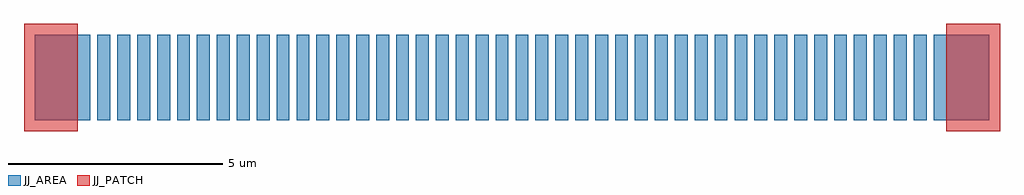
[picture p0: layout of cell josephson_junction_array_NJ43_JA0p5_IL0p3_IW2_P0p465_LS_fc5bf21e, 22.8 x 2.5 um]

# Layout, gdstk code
import gdstk
lib = gdstk.Library(unit=1e-6, precision=1e-09)
def R(c, l, rs):  # rectangles x0, y0, x1, y1
    for r in rs: c.add(gdstk.rectangle(r[:2], r[2:], *l))
def A(c, l, x, y, w, h, nx, ny, dx, dy):  # array of equal rectangles
    R(c, l, [(x+i*dx, y+j*dy, x+i*dx+w, y+j*dy+h) for i in range(nx) for j in range(ny)])
JJ_AREA = (20, 0)
JJ_PATCH = (20, 1)

josephson_junction_array = lib.new_cell('josephson_junction_array_NJ43_JA0p5_IL0p3_IW2_P0p465_LS_fc5bf21e')
A(josephson_junction_array, JJ_AREA, 0.315, -1, 0.3, 2, 42, 1, 0.465, 0)
R(josephson_junction_array, JJ_AREA, [(-1.15,-1,0.15,1), (19.845,-1,21.145,1)])
R(josephson_junction_array, JJ_PATCH, [(-1.4,-1.25,-0.15,1.25), (20.145,-1.25,21.395,1.25)])

lib.write_gds('josephson_junction_array_NJ43_JA0p5_IL0p3_IW2_P0p465_LS_fc5bf21e.gds')
